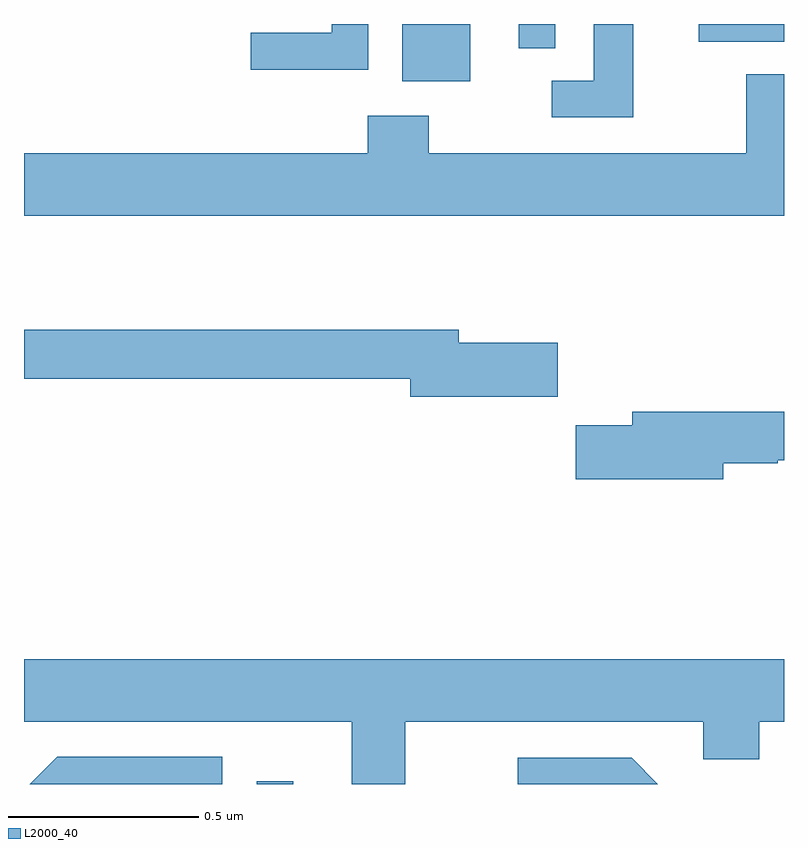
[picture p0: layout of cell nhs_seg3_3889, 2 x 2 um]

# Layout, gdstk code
import gdstk
lib = gdstk.Library(unit=1e-6, precision=1e-09)
def R(c, l, rs):  # rectangles x0, y0, x1, y1
    for r in rs: c.add(gdstk.rectangle(r[:2], r[2:], *l))
def P(c, l, *ps):  # polygons
    for p in ps: c.add(gdstk.Polygon(p, *l))
L2000_40 = (2000, 40)

nhs_seg3_3889 = lib.new_cell('nhs_seg3_3889')
R(nhs_seg3_3889, L2000_40, [(159.613,719.4,159.709,719.407), (159.995,721.25,160.174,721.4), (160.302,721.336,160.398,721.4), (160.775,721.353,161,721.4)])
P(nhs_seg3_3889, L2000_40, [(159.906,721.4),(159.81,721.4),(159.81,721.377),(159.597,721.377),(159.597,721.279),(159.906,721.279)],
  [(160.603,721.4),(160.499,721.4),(160.499,721.251),(160.389,721.251),(160.389,721.155),(160.603,721.155)],
  [(161,721.268),(160.901,721.268),(160.901,721.06),(160.065,721.06),(160.065,721.159),(159.905,721.159),(159.905,721.06),(159,721.06),(159,720.896),(161,720.896)],
  [(160.405,720.561),(160.144,720.561),(160.144,720.595),(159,720.595),(159,720.466),(160.016,720.466),(160.016,720.419),(160.405,720.419)],
  [(160.84,720.244),(160.983,720.244),(160.983,720.252),(161,720.252),(161,720.38),(160.601,720.38),(160.601,720.344),(160.452,720.344),(160.452,720.202),(160.84,720.202)],
  [(160.003,719.564),(160.787,719.564),(160.787,719.465),(160.935,719.465),(160.935,719.564),(161,719.564),(161,719.728),(159,719.728),(159,719.564),(159.863,719.564),(159.863,719.4),(160.003,719.4)],
  [(159.522,719.472),(159.087,719.472),(159.015,719.4),(159.522,719.4)],
  [(160.599,719.469),(160.299,719.469),(160.299,719.4),(160.668,719.4)])

lib.write_gds('nhs_seg3_3889.gds')
